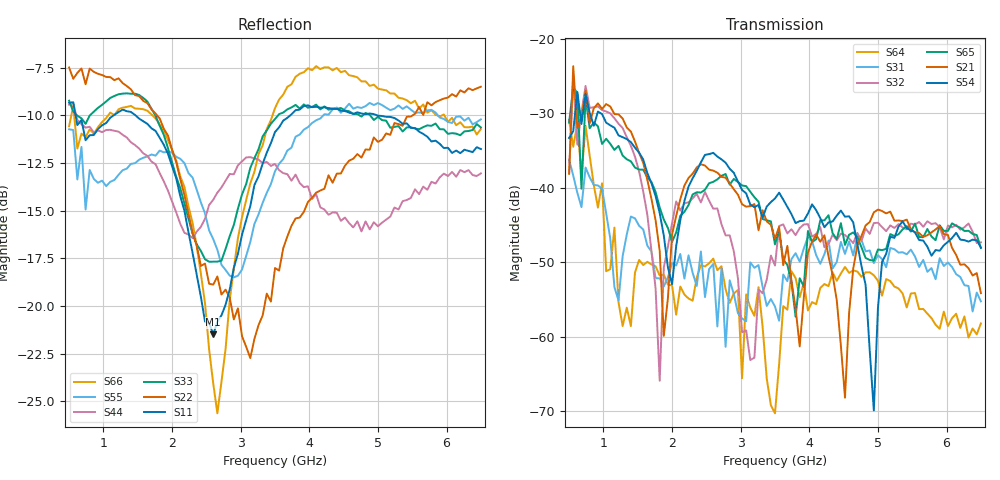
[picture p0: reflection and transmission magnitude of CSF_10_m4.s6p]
!Keysight Technologies,M9804A,MY58100912,A.14.10.03
!Date: Thursday, April 27, 2023 10:28:33
!Correction: S11(C  6-Port  )
!S12(C  6-Port  )
!S13(C  6-Port  )
!S14(C  6-Port  )
!S15(C  6-Port  )
!S16(C  6-Port  )
!S21(C  6-Port  )
!S22(C  6-Port  )
!S23(C  6-Port  )
!S24(C  6-Port  )
!S25(C  6-Port  )
!S26(C  6-Port  )
!S31(C  6-Port  )
!S32(C  6-Port  )
!S33(C  6-Port  )
!S34(C  6-Port  )
!S35(C  6-Port  )
!S36(C  6-Port  )
!S41(C  6-Port  )
!S42(C  6-Port  )
!S43(C  6-Port  )
!S44(C  6-Port  )
!S45(C  6-Port  )
!S46(C  6-Port  )
!S51(C  6-Port  )
!S52(C  6-Port  )
!S53(C  6-Port  )
!S54(C  6-Port  )
!S55(C  6-Port  )
!S56(C  6-Port  )
!S61(C  6-Port  )
!S62(C  6-Port  )
!S63(C  6-Port  )
!S64(C  6-Port  )
!S65(C  6-Port  )
!S66(C  6-Port  )
!S6P File: Measurement: :
# Hz S  RI  R 50
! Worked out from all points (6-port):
!   101 points, 500 MHz to 6.5 GHz, reference 50 ohm
!   strongest paths, dB at 500 MHz, 2 GHz, 3.5 GHz, 5 GHz, 6.5 GHz:
!     S54: -33.3, -53.0, -41.4, -56.2, -48.0
!     S21: -38.1, -46.3, -46.8, -42.9, -54.1
!     S65: -31.2, -47.2, -47.6, -48.3, -48.1
!     S32: -38.0, -44.7, -50.4, -44.7, -47.3
!     S31: -36.2, -50.1, -55.9, -49.0, -55.2
!     S64: -30.9, -53.1, -70.3, -52.5, -58.2
!   lowest |S11| = -21.5 dB at 2.6 GHz (marker M1), VSWR 1.18, Z = 42.6 + j2.32 ohm
!   |S11| at or under -10 dB: 594 MHz to 1.151 GHz (557.1 MHz wide, 63.8 % of centre); 1.465 GHz to 3.725 GHz (2.26 GHz wide, 87.1 % of centre); 4.982 GHz to end of sweep
